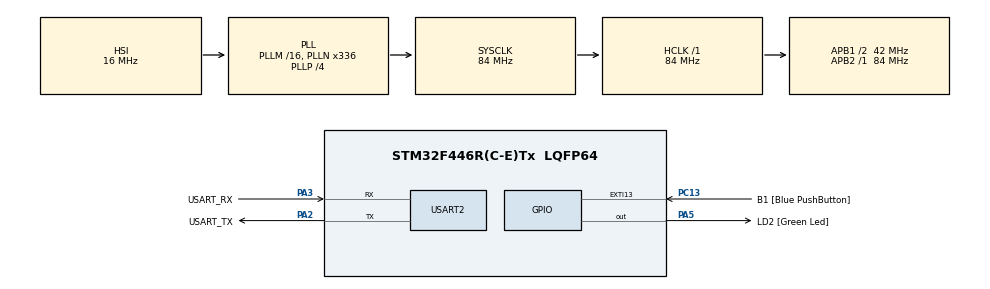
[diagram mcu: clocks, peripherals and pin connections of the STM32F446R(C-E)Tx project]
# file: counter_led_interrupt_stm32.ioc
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Mcu.Family=STM32F4
Mcu.Name=STM32F446R(C-E)Tx
Mcu.Package=LQFP64
NVIC.PriorityGroup=NVIC_PRIORITYGROUP_0
PA13.GPIO_Label=TMS
PA13.Mode=Serial_Wire
PA13.Signal=SYS_JTMS-SWDIO
PA14.GPIO_Label=TCK
PA14.Mode=Serial_Wire
PA14.Signal=SYS_JTCK-SWCLK
PA2.GPIO_Label=USART_TX
PA2.Mode=Asynchronous
PA2.Signal=USART2_TX
PA3.GPIO_Label=USART_RX
PA3.Mode=Asynchronous
PA3.Signal=USART2_RX
PA5.GPIO_Label=LD2 [Green Led]
PA5.Signal=GPIO_Output
PB3.GPIO_Label=SWO
PB3.Signal=SYS_JTDO-SWO
PC13.GPIO_Label=B1 [Blue PushButton]
PC13.GPIO_ModeDefaultEXTI=GPIO_MODE_IT_FALLING
PC13.Signal=GPXTI13
PC14-OSC32_IN.Mode=LSE-External-Oscillator
PC14-OSC32_IN.Signal=RCC_OSC32_IN
PC15-OSC32_OUT.Mode=LSE-External-Oscillator
PC15-OSC32_OUT.Signal=RCC_OSC32_OUT
PH0-OSC_IN.Mode=HSE-External-Oscillator
PH0-OSC_IN.Signal=RCC_OSC_IN
PH1-OSC_OUT.Mode=HSE-External-Oscillator
PH1-OSC_OUT.Signal=RCC_OSC_OUT
ProjectManager.HeapSize=0x200
ProjectManager.StackSize=0x400
ProjectManager.TargetToolchain=STM32CubeIDE
RCC.48MHZClocksFreq_Value=84000000
RCC.AHBFreq_Value=84000000
RCC.APB1CLKDivider=RCC_HCLK_DIV2
RCC.APB1Freq_Value=42000000
RCC.APB1TimFreq_Value=84000000
RCC.APB2Freq_Value=84000000
RCC.APB2TimFreq_Value=84000000
RCC.CortexFreq_Value=84000000
RCC.FLatency-AdvancedSettings=FLASH_LATENCY_2
RCC.HCLKFreq_Value=84000000
RCC.HSE_VALUE=8000000
RCC.HSI_VALUE=16000000
RCC.PLLN=336
RCC.PLLP=RCC_PLLP_DIV4
RCC.SYSCLKFreq_VALUE=84000000
RCC.SYSCLKSource=RCC_SYSCLKSOURCE_PLLCLK
RCC.USBFreq_Value=168000000
RCC.VCOOutputFreq_Value=336000000
USART2.VirtualMode=VM_ASYNC
board=NUCLEO-F446RE

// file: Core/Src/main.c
/* USER CODE BEGIN Header */
/**
  ******************************************************************************
  * @file           : main.c
  * @brief          : Main program body
  ******************************************************************************
  * @attention
  *
  * Copyright (c) 2024 STMicroelectronics.
  * All rights reserved.
  *
  * This software is licensed under terms that can be found in the LICENSE file
  * in the root directory of this software component.
  * If no LICENSE file comes with this software, it is provided AS-IS.
  *
  ******************************************************************************
  */
/* USER CODE END Header */
#include "main.h"

/* USER CODE BEGIN PD */
#define GPIO_BIT_0 			0 		// PC0
#define GPIO_BIT_1 			1 		// PC1
#define GPIO_BIT_2 			2 		// PC2
#define GPIO_EVENT_DETECTOR 3 		// PC3

/* USER CODE END PD */

UART_HandleTypeDef huart2;

/* USER CODE BEGIN PV */
volatile uint8_t my_counter;
/* USER CODE END PV */

void SystemClock_Config(void);
static void MX_GPIO_Init(void);
static void MX_USART2_UART_Init(void);
/* USER CODE BEGIN PFP */

void display_counter(volatile uint8_t *counter);
/* USER CODE END PFP */

/* USER CODE BEGIN 0 */
void EXTI3_IRQHandler() {
	NVIC_ClearPendingIRQ(EXTI3_IRQn);
	my_counter = (my_counter + 1) % (8);
	EXTI->PR |= (0x01 << GPIO_EVENT_DETECTOR);
}
/* USER CODE END 0 */

int main(void)
{

  /* MCU Configuration--------------------------------------------------------*/

  /* Reset of all peripherals, Initializes the Flash interface and the Systick. */
  HAL_Init();

  /* USER CODE BEGIN Init */
  my_counter = 0;
  /* USER CODE END Init */

  /* Configure the system clock */
  SystemClock_Config();

  /* Initialize all configured peripherals */
  MX_GPIO_Init();
  MX_USART2_UART_Init();
  /* USER CODE BEGIN 2 */

  RCC->AHB1ENR 		|=  (1 	<< RCC_AHB1ENR_GPIOCEN_Pos);
  RCC->APB2ENR 		|=  (0x01 << RCC_APB2ENR_SYSCFGEN_Pos);

  // PC BIT_0 Set Up
  GPIOC->MODER 		|=  (0x01 	<< 2*GPIO_BIT_0);
  GPIOC->OTYPER 	&= ~(0x03 	<< GPIO_BIT_0);
  GPIOC->OSPEEDR 	&= ~(0x03 	<< 2*GPIO_BIT_0);
  GPIOC->PUPDR 		&= ~(0x03 	<< 2*GPIO_BIT_0);

  // PC BIT_1 Set Up
  GPIOC->MODER 		|=  (0x01 	<< 2*GPIO_BIT_1);
  GPIOC->OTYPER 	&= ~(0x03 	<< GPIO_BIT_1);
  GPIOC->OSPEEDR 	&= ~(0x03 	<< 2*GPIO_BIT_1);
  GPIOC->PUPDR 		&= ~(0x03 	<< 2*GPIO_BIT_1);

  // PC BIT_2 Set Up
  GPIOC->MODER 		|=  (0x01 	<< 2*GPIO_BIT_2);
  GPIOC->OTYPER 	&= ~(0x03 	<< GPIO_BIT_2);
  GPIOC->OSPEEDR 	&= ~(0x03 	<< 2*GPIO_BIT_2);
  GPIOC->PUPDR 		&= ~(0x03 	<< 2*GPIO_BIT_2);

  // PC Counter Bit Event Detector
  GPIOC->MODER 		&= ~(0x03 	<< 2*GPIO_EVENT_DETECTOR);
  GPIOC->PUPDR 		|= ~(0x01 	<< 2*GPIO_EVENT_DETECTOR);

  /* SYStem ConFiGuration (Multiplexer) */
  SYSCFG->EXTICR[0] |= (SYSCFG_EXTICR1_EXTI3_PC);

  /* EXTernal Interrupt configuration */
  EXTI->IMR  |= (EXTI_IMR_IM3);
  EXTI->FTSR |= (0x01 << EXTI_FTSR_TR3_Pos);

  /* NVIC Configuration */
  NVIC_EnableIRQ(EXTI3_IRQn);
  NVIC_SetPriority(EXTI3_IRQn, 0);

  /* Initialization Pattern */
  GPIOC->ODR |= (0x01 << GPIO_BIT_0);
  HAL_Delay(1000);
  GPIOC->ODR |= (0x01 << GPIO_BIT_1);
  HAL_Delay(1000);
  GPIOC->ODR |= (0x01 << GPIO_BIT_2);
  HAL_Delay(1000);
  GPIOC->ODR &= ~(0x01 << GPIO_BIT_2);
  HAL_Delay(1000);
  GPIOC->ODR &= ~(0x01 << GPIO_BIT_1);
  HAL_Delay(1000);
  GPIOC->ODR &= ~(0x01 << GPIO_BIT_0);

  /* USER CODE END 2 */

  /* Infinite loop */
  while (1)
  {
//	  // Example for polling mode
//	  if(!((GPIOC->IDR >> GPIO_IDR_ID3_Pos) & 0x01)) {
//		    my_counter = (my_counter + 1) % (8);
//			display_counter(&my_counter);
//			HAL_Delay(400);
//	  }
	  display_counter(&my_counter); // function at line 291
	  HAL_Delay(400);

  }
}

void SystemClock_Config(void)
{
  RCC_OscInitTypeDef RCC_OscInitStruct = {0};
  RCC_ClkInitTypeDef RCC_ClkInitStruct = {0};

  /** Configure the main internal regulator output voltage
  */
  __HAL_RCC_PWR_CLK_ENABLE();
  __HAL_PWR_VOLTAGESCALING_CONFIG(PWR_REGULATOR_VOLTAGE_SCALE3);

  /** Initializes the RCC Oscillators according to the specified parameters
  * in the RCC_OscInitTypeDef structure.
  */
  RCC_OscInitStruct.OscillatorType = RCC_OSCILLATORTYPE_HSI;
  RCC_OscInitStruct.HSIState = RCC_HSI_ON;
  RCC_OscInitStruct.HSICalibrationValue = RCC_HSICALIBRATION_DEFAULT;
  RCC_OscInitStruct.PLL.PLLState = RCC_PLL_ON;
  RCC_OscInitStruct.PLL.PLLSource = RCC_PLLSOURCE_HSI;
  RCC_OscInitStruct.PLL.PLLM = 16;
  RCC_OscInitStruct.PLL.PLLN = 336;
  RCC_OscInitStruct.PLL.PLLP = RCC_PLLP_DIV4;
  RCC_OscInitStruct.PLL.PLLQ = 2;
  RCC_OscInitStruct.PLL.PLLR = 2;
  if (HAL_RCC_OscConfig(&RCC_OscInitStruct) != HAL_OK)
  {
    Error_Handler();
  }

  /** Initializes the CPU, AHB and APB buses clocks
  */
  RCC_ClkInitStruct.ClockType = RCC_CLOCKTYPE_HCLK|RCC_CLOCKTYPE_SYSCLK
                              |RCC_CLOCKTYPE_PCLK1|RCC_CLOCKTYPE_PCLK2;
  RCC_ClkInitStruct.SYSCLKSource = RCC_SYSCLKSOURCE_PLLCLK;
  RCC_ClkInitStruct.AHBCLKDivider = RCC_SYSCLK_DIV1;
  RCC_ClkInitStruct.APB1CLKDivider = RCC_HCLK_DIV2;
  RCC_ClkInitStruct.APB2CLKDivider = RCC_HCLK_DIV1;

  if (HAL_RCC_ClockConfig(&RCC_ClkInitStruct, FLASH_LATENCY_2) != HAL_OK)
  {
    Error_Handler();
  }
}

static void MX_USART2_UART_Init(void)
{

  huart2.Instance = USART2;
  huart2.Init.BaudRate = 115200;
  huart2.Init.WordLength = UART_WORDLENGTH_8B;
  huart2.Init.StopBits = UART_STOPBITS_1;
  huart2.Init.Parity = UART_PARITY_NONE;
  huart2.Init.Mode = UART_MODE_TX_RX;
  huart2.Init.HwFlowCtl = UART_HWCONTROL_NONE;
  huart2.Init.OverSampling = UART_OVERSAMPLING_16;
  if (HAL_UART_Init(&huart2) != HAL_OK)
  {
    Error_Handler();
  }

}

static void MX_GPIO_Init(void)
{
  GPIO_InitTypeDef GPIO_InitStruct = {0};

  /* GPIO Ports Clock Enable */
  __HAL_RCC_GPIOC_CLK_ENABLE();
  __HAL_RCC_GPIOH_CLK_ENABLE();
  __HAL_RCC_GPIOA_CLK_ENABLE();
  __HAL_RCC_GPIOB_CLK_ENABLE();

  /*Configure GPIO pin Output Level */
  HAL_GPIO_WritePin(LD2_GPIO_Port, LD2_Pin, GPIO_PIN_RESET);

  /*Configure GPIO pin : B1_Pin */
  GPIO_InitStruct.Pin = B1_Pin;
  GPIO_InitStruct.Mode = GPIO_MODE_IT_FALLING;
  GPIO_InitStruct.Pull = GPIO_NOPULL;
  HAL_GPIO_Init(B1_GPIO_Port, &GPIO_InitStruct);

  /*Configure GPIO pin : LD2_Pin */
  GPIO_InitStruct.Pin = LD2_Pin;
  GPIO_InitStruct.Mode = GPIO_MODE_OUTPUT_PP;
  GPIO_InitStruct.Pull = GPIO_NOPULL;
  GPIO_InitStruct.Speed = GPIO_SPEED_FREQ_LOW;
  HAL_GPIO_Init(LD2_GPIO_Port, &GPIO_InitStruct);

}

/* USER CODE BEGIN 4 */
void display_counter(volatile uint8_t *counter) {

	GPIOC->ODR &= ~(0x07);
	GPIOC->ODR |= (*counter); // PC0 PC1 and PC2 are contiguous

	return;

}
/* USER CODE END 4 */

void Error_Handler(void)
{
  __disable_irq();
  while (1)
  {
  }
}
